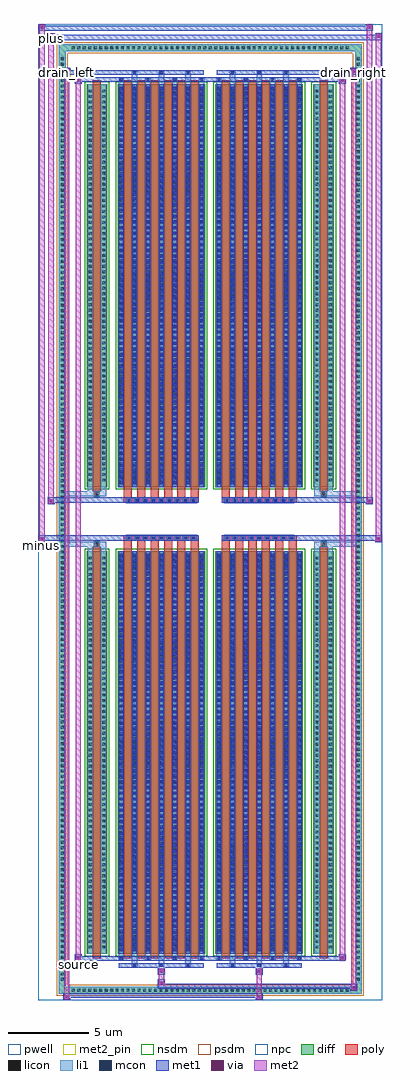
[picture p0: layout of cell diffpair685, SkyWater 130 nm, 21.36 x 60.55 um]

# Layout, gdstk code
import gdstk
lib = gdstk.Library(unit=1e-6, precision=5e-09)
def R(c, l, rs):  # rectangles x0, y0, x1, y1
    for r in rs: c.add(gdstk.rectangle(r[:2], r[2:], *l))
def A(c, l, x, y, w, h, nx, ny, dx, dy):  # array of equal rectangles
    R(c, l, [(x+i*dx, y+j*dy, x+i*dx+w, y+j*dy+h) for i in range(nx) for j in range(ny)])
def P(c, l, *ps):  # polygons
    for p in ps: c.add(gdstk.Polygon(p, *l))
pwell = (64, 44)
diff = (65, 20)
poly = (66, 20)
licon = (66, 44)
li1 = (67, 20)
mcon = (67, 44)
met1 = (68, 20)
via = (68, 44)
met2_pin = (69, 16)
met2 = (69, 20)
nsdm = (93, 44)
psdm = (94, 20)
npc = (95, 20)

diffpair685 = lib.new_cell('diffpair685')
R(diffpair685, pwell, [(-10.66,-29.84,10.66,30.71), (-7.98,-28.03,-0.01,-0.805), (0.01,-28.03,7.98,-0.805), (-7.98,0.805,-0.01,28.03), (0.01,0.805,7.98,28.03)])
A(diffpair685, diff, -8.705, -29.44, 0.41, 0.41, 51, 2, 0.34, 58.47)
A(diffpair685, diff, -9.39, -28.765, 0.41, 0.41, 1, 169, 0, 0.34)
A(diffpair685, diff, 8.98, -28.765, 0.41, 0.41, 1, 169, 0, 0.34)
R(diffpair685, diff, [(-8.705,-29.44,8.705,-29.03), (-9.39,-28.765,-8.98,28.765), (8.98,-28.765,9.39,28.765), (-7.67,-26.985,-6.39,-1.985), (-5.75,-26.985,-0.32,-1.985), (0.32,-26.985,5.75,-1.985), (6.39,-26.985,7.67,-1.985), (-7.67,1.985,-6.39,26.985), (-5.75,1.985,-0.32,26.985), (0.32,1.985,5.75,26.985), (6.39,1.985,7.67,26.985), (-8.705,29.03,8.705,29.44)])
P(diffpair685, diff, [(9.39,29.44),(-9.39,29.44),(-9.39,-29.03),(-8.98,-29.03),(-8.98,29.03),(8.98,29.03),(8.98,-29.03),(-8.98,-29.03),(-9.39,-29.03),(-9.39,-29.44),(9.39,-29.44)])
A(diffpair685, poly, -5.36, -27.235, 0.5, 25.5, 6, 2, 0.83, 28.97)
A(diffpair685, poly, 0.71, -27.235, 0.5, 25.5, 6, 2, 0.83, 28.97)
A(diffpair685, poly, -5.36, -1.735, 0.5, 0.4, 6, 2, 0.83, 3.07)
A(diffpair685, poly, 0.71, -1.735, 0.5, 0.4, 6, 2, 0.83, 3.07)
A(diffpair685, poly, -5.2, -1.335, 0.33, 0.33, 9, 2, 0.5, 2.34)
A(diffpair685, poly, 0.87, -1.335, 0.33, 0.33, 9, 2, 0.5, 2.34)
R(diffpair685, poly, [(-7.28,-27.235,-6.78,-1.735), (6.78,-27.235,7.28,-1.735), (-7.195,-1.735,-6.865,-1.405), (-7.195,-1.735,-6.865,-1.405), (6.865,-1.735,7.195,-1.405), (6.865,-1.735,7.195,-1.405), (-5.36,-1.335,-0.71,-1.005), (0.71,-1.335,5.36,-1.005), (-5.36,1.005,-0.71,1.335), (0.71,1.005,5.36,1.335), (-7.195,1.405,-6.865,1.735), (-7.195,1.405,-6.865,1.735), (6.865,1.405,7.195,1.735), (6.865,1.405,7.195,1.735), (-7.28,1.735,-6.78,27.235), (6.78,1.735,7.28,27.235)])
A(diffpair685, licon, -8.585, -29.32, 0.17, 0.17, 51, 2, 0.34, 58.47)
A(diffpair685, licon, -9.27, -28.645, 0.17, 0.17, 1, 169, 0, 0.34)
A(diffpair685, licon, 9.1, -28.645, 0.17, 0.17, 1, 169, 0, 0.34)
A(diffpair685, licon, -7.53, -26.64, 0.17, 0.17, 1, 72, 0, 0.34)
A(diffpair685, licon, -6.7, -26.64, 0.17, 0.17, 1, 72, 0, 0.34)
A(diffpair685, licon, -5.61, -26.64, 0.17, 0.17, 7, 72, 0.83, 0.34)
A(diffpair685, licon, 0.46, -26.64, 0.17, 0.17, 7, 72, 0.83, 0.34)
A(diffpair685, licon, 6.53, -26.64, 0.17, 0.17, 1, 72, 0, 0.34)
A(diffpair685, licon, 7.36, -26.64, 0.17, 0.17, 1, 72, 0, 0.34)
A(diffpair685, licon, -5.12, -1.255, 0.17, 0.17, 9, 2, 0.5, 2.34)
A(diffpair685, licon, 0.95, -1.255, 0.17, 0.17, 9, 2, 0.5, 2.34)
A(diffpair685, licon, -7.53, 2.33, 0.17, 0.17, 1, 72, 0, 0.34)
A(diffpair685, licon, -6.7, 2.33, 0.17, 0.17, 1, 72, 0, 0.34)
A(diffpair685, licon, -5.61, 2.33, 0.17, 0.17, 7, 72, 0.83, 0.34)
A(diffpair685, licon, 0.46, 2.33, 0.17, 0.17, 7, 72, 0.83, 0.34)
A(diffpair685, licon, 6.53, 2.33, 0.17, 0.17, 1, 72, 0, 0.34)
A(diffpair685, licon, 7.36, 2.33, 0.17, 0.17, 1, 72, 0, 0.34)
R(diffpair685, licon, [(-7.115,-1.655,-6.945,-1.485), (6.945,-1.655,7.115,-1.485), (-7.115,1.485,-6.945,1.655), (6.945,1.485,7.115,1.655)])
A(diffpair685, li1, -8.665, -29.4, 0.33, 0.33, 51, 2, 0.34, 58.47)
A(diffpair685, li1, -9.35, -28.725, 0.33, 0.33, 1, 169, 0, 0.34)
A(diffpair685, li1, 9.02, -28.725, 0.33, 0.33, 1, 169, 0, 0.34)
A(diffpair685, li1, -4.86, -27.79, 0.33, 0.805, 3, 2, 1.66, 54.775)
A(diffpair685, li1, -4.78, -27.79, 0.17, 0.17, 3, 2, 1.66, 55.41)
A(diffpair685, li1, 1.21, -27.79, 0.33, 0.805, 3, 2, 1.66, 54.775)
A(diffpair685, li1, 1.29, -27.79, 0.17, 0.17, 3, 2, 1.66, 55.41)
A(diffpair685, li1, -5.69, -27.36, 0.33, 0.375, 4, 2, 1.66, 54.345)
A(diffpair685, li1, -5.61, -27.36, 0.17, 0.17, 4, 2, 1.66, 54.55)
A(diffpair685, li1, 0.38, -27.36, 0.33, 0.375, 4, 2, 1.66, 54.345)
A(diffpair685, li1, 0.46, -27.36, 0.17, 0.17, 4, 2, 1.66, 54.55)
A(diffpair685, li1, -5.69, -26.985, 0.33, 25, 7, 2, 0.83, 28.97)
A(diffpair685, li1, 0.38, -26.985, 0.33, 25, 7, 2, 0.83, 28.97)
A(diffpair685, li1, -5.61, -26.81, 0.17, 0.17, 7, 69, 0.83, 0.36)
A(diffpair685, li1, -5.61, -26.81, 0.17, 24.65, 7, 2, 0.83, 28.97)
A(diffpair685, li1, 0.46, -26.81, 0.17, 0.17, 7, 69, 0.83, 0.36)
A(diffpair685, li1, 0.46, -26.81, 0.17, 24.65, 7, 2, 0.83, 28.97)
A(diffpair685, li1, -7.61, -26.72, 0.33, 0.33, 1, 72, 0, 0.34)
A(diffpair685, li1, -6.78, -26.72, 0.33, 0.33, 1, 72, 0, 0.34)
A(diffpair685, li1, -5.69, -26.72, 0.33, 0.33, 7, 72, 0.83, 0.34)
A(diffpair685, li1, 0.38, -26.72, 0.33, 0.33, 7, 72, 0.83, 0.34)
A(diffpair685, li1, 6.45, -26.72, 0.33, 0.33, 1, 72, 0, 0.34)
A(diffpair685, li1, 7.28, -26.72, 0.33, 0.33, 1, 72, 0, 0.34)
A(diffpair685, li1, -5.2, -1.335, 0.33, 0.33, 9, 2, 0.5, 2.34)
A(diffpair685, li1, 0.87, -1.335, 0.33, 0.33, 9, 2, 0.5, 2.34)
A(diffpair685, li1, -5.61, 2.16, 0.17, 0.17, 7, 69, 0.83, 0.36)
A(diffpair685, li1, 0.46, 2.16, 0.17, 0.17, 7, 69, 0.83, 0.36)
A(diffpair685, li1, -7.61, 2.25, 0.33, 0.33, 1, 72, 0, 0.34)
A(diffpair685, li1, -6.78, 2.25, 0.33, 0.33, 1, 72, 0, 0.34)
A(diffpair685, li1, -5.69, 2.25, 0.33, 0.33, 7, 72, 0.83, 0.34)
A(diffpair685, li1, 0.38, 2.25, 0.33, 0.33, 7, 72, 0.83, 0.34)
A(diffpair685, li1, 6.45, 2.25, 0.33, 0.33, 1, 72, 0, 0.34)
A(diffpair685, li1, 7.28, 2.25, 0.33, 0.33, 1, 72, 0, 0.34)
R(diffpair685, li1, [(-9.39,-29.44,-8.98,-29.03), (-9.39,-29.44,-8.98,-29.03), (-8.98,-29.44,8.98,-29.03), (8.98,-29.44,9.39,-29.03), (8.98,-29.44,9.39,-29.03), (-9.39,-29.03,-8.98,29.03), (8.98,-29.03,9.39,29.03), (-7.61,-26.985,-7.28,-1.985), (-6.78,-26.985,-6.45,-1.985), (6.45,-26.985,6.78,-1.985), (7.28,-26.985,7.61,-1.985), (-7.61,-1.985,-7.28,-1.405), (-6.78,-1.985,-6.45,-1.405), (6.45,-1.985,6.78,-1.405), (7.28,-1.985,7.61,-1.405), (-9.39,-1.735,-7.195,-1.405), (-7.61,-1.735,-7.195,-1.405), (-7.195,-1.735,-6.865,-1.405), (-6.865,-1.735,-6.45,-1.405), (6.45,-1.735,6.865,-1.405), (6.865,-1.735,7.195,-1.405), (6.865,-1.735,9.39,-1.405), (7.195,-1.735,7.61,-1.405), (-9.39,1.405,-7.195,1.735), (-7.61,1.405,-7.195,1.735), (-7.61,1.405,-7.28,1.985), (-7.195,1.405,-6.865,1.735), (-6.865,1.405,-6.45,1.735), (-6.78,1.405,-6.45,1.985), (6.45,1.405,6.865,1.735), (6.45,1.405,6.78,1.985), (6.865,1.405,7.195,1.735), (6.865,1.405,9.39,1.735), (7.195,1.405,7.61,1.735), (7.28,1.405,7.61,1.985), (-7.61,1.985,-7.28,26.985), (-6.78,1.985,-6.45,26.985), (6.45,1.985,6.78,26.985), (7.28,1.985,7.61,26.985), (-9.39,29.03,-8.98,29.44), (-9.39,29.03,-8.98,29.44), (-8.98,29.03,8.98,29.44), (8.98,29.03,9.39,29.44), (8.98,29.03,9.39,29.44)])
A(diffpair685, mcon, -4.78, -27.79, 0.17, 0.17, 3, 2, 1.66, 55.41)
A(diffpair685, mcon, 1.29, -27.79, 0.17, 0.17, 3, 2, 1.66, 55.41)
A(diffpair685, mcon, -5.61, -27.36, 0.17, 0.17, 4, 2, 1.66, 54.55)
A(diffpair685, mcon, 0.46, -27.36, 0.17, 0.17, 4, 2, 1.66, 54.55)
A(diffpair685, mcon, -5.61, -26.81, 0.17, 0.17, 7, 69, 0.83, 0.36)
A(diffpair685, mcon, 0.46, -26.81, 0.17, 0.17, 7, 69, 0.83, 0.36)
A(diffpair685, mcon, -5.12, -1.255, 0.17, 0.17, 9, 2, 0.5, 2.34)
A(diffpair685, mcon, 0.95, -1.255, 0.17, 0.17, 9, 2, 0.5, 2.34)
A(diffpair685, mcon, -5.61, 2.16, 0.17, 0.17, 7, 69, 0.83, 0.36)
A(diffpair685, mcon, 0.46, 2.16, 0.17, 0.17, 7, 69, 0.83, 0.36)
A(diffpair685, met1, -4.84, -27.85, 0.29, 0.29, 3, 2, 1.66, 55.41)
A(diffpair685, met1, 1.23, -27.85, 0.29, 0.29, 3, 2, 1.66, 55.41)
A(diffpair685, met1, -5.67, -27.42, 0.29, 0.29, 4, 2, 1.66, 54.55)
A(diffpair685, met1, 0.4, -27.42, 0.29, 0.29, 4, 2, 1.66, 54.55)
A(diffpair685, met1, -5.67, -26.985, 0.29, 25, 7, 2, 0.83, 28.97)
A(diffpair685, met1, 0.4, -26.985, 0.29, 25, 7, 2, 0.83, 28.97)
A(diffpair685, met1, -5.67, -26.87, 0.29, 0.29, 7, 69, 0.83, 0.36)
A(diffpair685, met1, 0.4, -26.87, 0.29, 0.29, 7, 69, 0.83, 0.36)
A(diffpair685, met1, -5.18, -1.315, 0.29, 0.29, 9, 2, 0.5, 2.34)
A(diffpair685, met1, 0.89, -1.315, 0.29, 0.29, 9, 2, 0.5, 2.34)
A(diffpair685, met1, -5.67, 2.1, 0.29, 0.29, 7, 69, 0.83, 0.36)
A(diffpair685, met1, 0.4, 2.1, 0.29, 0.29, 7, 69, 0.83, 0.36)
R(diffpair685, met1, [(-9.12,-29.84,-8.69,-29.41), (2.82,-29.84,3.25,-29.41), (-9.12,-29.7,3.25,-29.41), (8.69,-29.27,9.12,-28.84), (-3.25,-29.13,9.12,-28.84), (-3.25,-28.99,-2.82,-28.56), (-3.25,-28.28,-2.82,-27.85), (2.82,-28.28,3.25,-27.85), (-5.67,-27.85,-0.4,-27.56), (0.4,-27.85,5.67,-27.56), (-8.41,-27.42,-7.98,-26.99), (-8.41,-27.42,-5.67,-27.13), (-5.67,-27.42,-0.4,-27.13), (-0.4,-27.42,0.4,-27.13), (0.4,-27.42,5.67,-27.13), (5.67,-27.42,8.41,-27.13), (7.98,-27.42,8.41,-26.99), (-10.66,-1.435,-10.23,-1.005), (10.23,-1.435,10.66,-1.005), (-10.66,-1.335,-0.71,-1.005), (-5.36,-1.335,-0.71,-1.005), (0.71,-1.335,5.36,-1.005), (0.71,-1.335,10.66,-1.005), (-10.09,0.905,-9.66,1.335), (9.66,0.905,10.09,1.335), (-10.09,1.005,-5.36,1.335), (-5.36,1.005,-0.71,1.335), (0.71,1.005,5.36,1.335), (5.36,1.005,10.09,1.335), (-8.41,26.99,-7.98,27.42), (7.98,26.99,8.41,27.42), (-8.41,27.13,-5.67,27.42), (-5.67,27.13,-0.4,27.42), (-0.4,27.13,0.4,27.42), (0.4,27.13,5.67,27.42), (5.67,27.13,8.41,27.42), (-9.12,27.56,-8.69,27.99), (-9.12,27.56,-5.67,27.85), (-5.67,27.56,-0.4,27.85), (0.4,27.56,5.67,27.85), (5.67,27.56,9.12,27.85), (8.69,27.56,9.12,27.99), (-10.09,29.71,-9.66,30.14), (-10.09,29.71,-7.98,30.04), (-7.98,29.71,7.98,30.04), (7.98,29.71,10.66,30.04), (10.23,29.71,10.66,30.14), (-10.66,30.28,-10.23,30.71), (-10.66,30.28,-7.98,30.61), (-7.98,30.28,7.98,30.61), (7.98,30.28,10.09,30.61), (9.66,30.28,10.09,30.71)])
R(diffpair685, via, [(-8.98,-29.7,-8.83,-29.55), (2.96,-29.7,3.11,-29.55), (8.83,-29.13,8.98,-28.98), (-3.11,-28.85,-2.96,-28.7), (-3.11,-28.14,-2.96,-27.99), (2.96,-28.14,3.11,-27.99), (-8.27,-27.28,-8.12,-27.13), (8.12,-27.28,8.27,-27.13), (-10.52,-1.295,-10.37,-1.145), (10.37,-1.295,10.52,-1.145), (-9.95,1.045,-9.8,1.195), (9.8,1.045,9.95,1.195), (-8.27,27.13,-8.12,27.28), (8.12,27.13,8.27,27.28), (-8.98,27.7,-8.83,27.85), (8.83,27.7,8.98,27.85), (-9.95,29.85,-9.8,30), (10.37,29.85,10.52,30), (-10.52,30.42,-10.37,30.57), (9.8,30.42,9.95,30.57)])
R(diffpair685, met2_pin, [(-8.445,-27.87,-7.945,-27.37), (-10.695,-1.885,-10.195,-1.385), (-9.155,27.44,-8.655,27.94), (8.655,27.44,9.155,27.94), (-10.125,29.59,-9.625,30.09)])
R(diffpair685, met2, [(-9.07,-29.79,-8.74,-29.46), (-9.07,-29.79,-8.74,27.94), (2.87,-29.79,3.2,-29.46), (2.87,-29.46,3.2,-28.23), (8.74,-29.22,9.07,-28.89), (8.74,-29.22,9.07,27.94), (-3.2,-28.94,-2.87,-28.61), (-3.2,-28.61,-2.87,-28.23), (-3.2,-28.23,-2.87,-27.9), (2.87,-28.23,3.2,-27.9), (-8.36,-27.37,-8.03,-27.04), (-8.36,-27.37,-8.03,27.37), (8.03,-27.37,8.36,-27.04), (8.03,-27.37,8.36,27.37), (-10.61,-1.385,-10.28,-1.055), (-10.61,-1.385,-10.28,30.66), (10.28,-1.385,10.61,-1.055), (10.28,-1.385,10.61,30.09), (-10.04,0.955,-9.71,1.285), (-10.04,0.955,-9.71,30.09), (9.71,0.955,10.04,1.285), (9.71,0.955,10.04,30.66), (-8.36,27.04,-8.03,27.37), (8.03,27.04,8.36,27.37), (-9.07,27.61,-8.74,27.94), (8.74,27.61,9.07,27.94), (-10.04,29.76,-9.71,30.09), (10.28,29.76,10.61,30.09), (-10.61,30.33,-10.28,30.66), (9.71,30.33,10.04,30.66)])
P(diffpair685, met2, [(10.61,-1.385),(10.61,-1.385),(10.61,-1.055),(10.61,-1.055)],
  [(10.61,29.76),(10.61,29.76),(10.61,30.09),(10.61,30.09)],
  [(-10.28,-1.385),(-10.28,-1.385),(-10.28,-1.055),(-10.28,-1.055)],
  [(-10.28,30.33),(-10.28,30.33),(-10.28,30.66),(-10.28,30.66)],
  [(10.04,0.955),(10.04,0.955),(10.04,1.285),(10.04,1.285)],
  [(10.04,30.33),(10.04,30.33),(10.04,30.66),(10.04,30.66)],
  [(-9.71,0.955),(-9.71,0.955),(-9.71,1.285),(-9.71,1.285)],
  [(-9.71,29.76),(-9.71,29.76),(-9.71,30.09),(-9.71,30.09)],
  [(-8.74,-29.79),(-8.74,-29.79),(-8.74,-29.46),(-8.74,-29.46)],
  [(-8.74,27.61),(-8.74,27.61),(-8.74,27.94),(-8.74,27.94)],
  [(9.07,-29.22),(9.07,-29.22),(9.07,-28.89),(9.07,-28.89)],
  [(9.07,27.61),(9.07,27.61),(9.07,27.94),(9.07,27.94)],
  [(-8.03,-27.37),(-8.03,-27.37),(-8.03,-27.04),(-8.03,-27.04)],
  [(-8.03,27.04),(-8.03,27.04),(-8.03,27.37),(-8.03,27.37)],
  [(8.36,-27.37),(8.36,-27.37),(8.36,-27.04),(8.36,-27.04)],
  [(8.36,27.04),(8.36,27.04),(8.36,27.37),(8.36,27.37)])
R(diffpair685, nsdm, [(-7.8,-27.115,-6.26,-1.855), (-5.88,-27.115,-0.19,-1.855), (0.19,-27.115,5.88,-1.855), (6.26,-27.115,7.8,-1.855), (-7.8,1.855,-6.26,27.115), (-5.88,1.855,-0.19,27.115), (0.19,1.855,5.88,27.115), (6.26,1.855,7.8,27.115)])
P(diffpair685, psdm, [(9.52,29.57),(-9.52,29.57),(-9.52,-28.9),(-8.85,-28.9),(-8.85,28.9),(8.85,28.9),(8.85,-28.9),(-8.85,-28.9),(-9.52,-28.9),(-9.52,-29.57),(9.52,-29.57)])
A(diffpair685, npc, -5.22, -1.355, 0.37, 0.37, 9, 2, 0.5, 2.34)
A(diffpair685, npc, 0.85, -1.355, 0.37, 0.37, 9, 2, 0.5, 2.34)
R(diffpair685, npc, [(-7.215,-1.755,-6.845,-1.385), (6.845,-1.755,7.215,-1.385), (-5.22,-1.355,-4.35,-0.985), (-5.22,-1.355,-4.35,-0.985), (-4.72,-1.355,-3.85,-0.985), (-4.72,-1.355,-3.85,-0.985), (-4.22,-1.355,-3.35,-0.985), (-4.22,-1.355,-3.35,-0.985), (-3.72,-1.355,-2.85,-0.985), (-3.72,-1.355,-2.85,-0.985), (-3.22,-1.355,-2.35,-0.985), (-3.22,-1.355,-2.35,-0.985), (-2.72,-1.355,-1.85,-0.985), (-2.72,-1.355,-1.85,-0.985), (-2.22,-1.355,-1.35,-0.985), (-2.22,-1.355,-1.35,-0.985), (-1.72,-1.355,-0.85,-0.985), (-1.72,-1.355,-0.85,-0.985), (0.85,-1.355,1.72,-0.985), (0.85,-1.355,1.72,-0.985), (1.35,-1.355,2.22,-0.985), (1.35,-1.355,2.22,-0.985), (1.85,-1.355,2.72,-0.985), (1.85,-1.355,2.72,-0.985), (2.35,-1.355,3.22,-0.985), (2.35,-1.355,3.22,-0.985), (2.85,-1.355,3.72,-0.985), (2.85,-1.355,3.72,-0.985), (3.35,-1.355,4.22,-0.985), (3.35,-1.355,4.22,-0.985), (3.85,-1.355,4.72,-0.985), (3.85,-1.355,4.72,-0.985), (4.35,-1.355,5.22,-0.985), (4.35,-1.355,5.22,-0.985), (-5.22,0.985,-4.35,1.355), (-5.22,0.985,-4.35,1.355), (-4.72,0.985,-3.85,1.355), (-4.72,0.985,-3.85,1.355), (-4.22,0.985,-3.35,1.355), (-4.22,0.985,-3.35,1.355), (-3.72,0.985,-2.85,1.355), (-3.72,0.985,-2.85,1.355), (-3.22,0.985,-2.35,1.355), (-3.22,0.985,-2.35,1.355), (-2.72,0.985,-1.85,1.355), (-2.72,0.985,-1.85,1.355), (-2.22,0.985,-1.35,1.355), (-2.22,0.985,-1.35,1.355), (-1.72,0.985,-0.85,1.355), (-1.72,0.985,-0.85,1.355), (0.85,0.985,1.72,1.355), (0.85,0.985,1.72,1.355), (1.35,0.985,2.22,1.355), (1.35,0.985,2.22,1.355), (1.85,0.985,2.72,1.355), (1.85,0.985,2.72,1.355), (2.35,0.985,3.22,1.355), (2.35,0.985,3.22,1.355), (2.85,0.985,3.72,1.355), (2.85,0.985,3.72,1.355), (3.35,0.985,4.22,1.355), (3.35,0.985,4.22,1.355), (3.85,0.985,4.72,1.355), (3.85,0.985,4.72,1.355), (4.35,0.985,5.22,1.355), (4.35,0.985,5.22,1.355), (-7.215,1.385,-6.845,1.755), (6.845,1.385,7.215,1.755)])
diffpair685.add(gdstk.Label('minus', (-10.445,-1.635), layer=69, texttype=5))
diffpair685.add(gdstk.Label('drain_right', (8.905,27.69), layer=69, texttype=5))
diffpair685.add(gdstk.Label('drain_left', (-8.905,27.69), layer=69, texttype=5))
diffpair685.add(gdstk.Label('source', (-8.195,-27.62), layer=69, texttype=5))
diffpair685.add(gdstk.Label('plus', (-9.875,29.84), layer=69, texttype=5))

lib.write_gds('diffpair685.gds')
